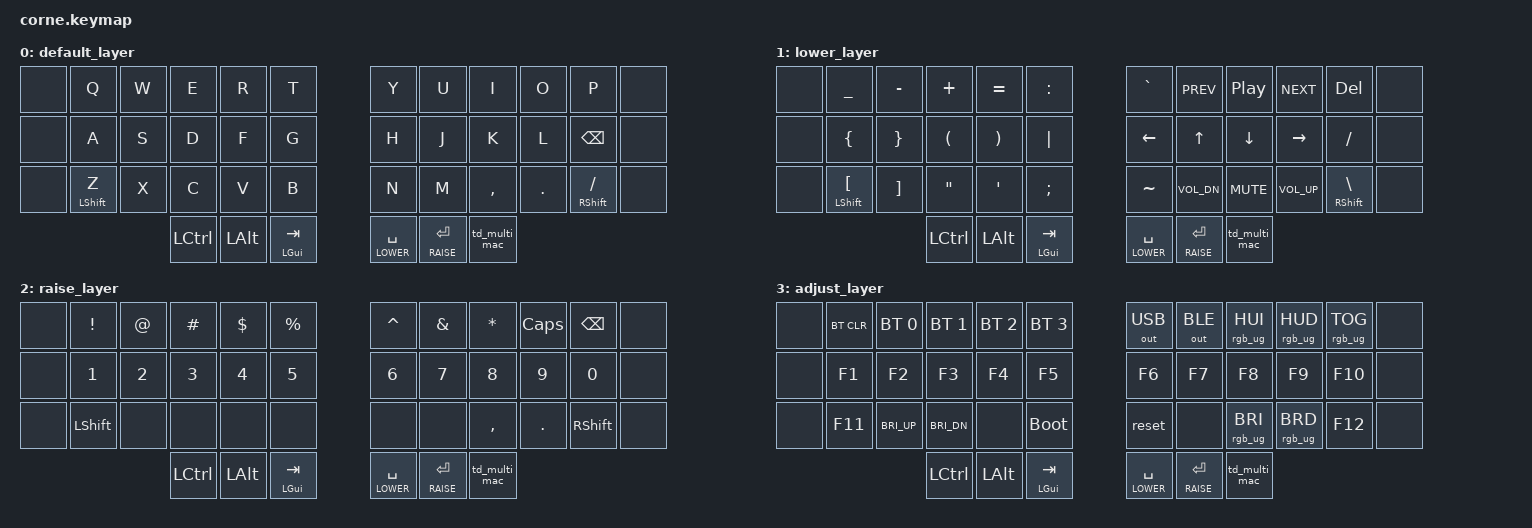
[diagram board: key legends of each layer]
/*
 * Copyright (c) 2020 The ZMK Contributors
 *
 * SPDX-License-Identifier: MIT
 */

#include <behaviors.dtsi>
#include <dt-bindings/zmk/keys.h>
#include <dt-bindings/zmk/bt.h>
#include <dt-bindings/led/led.h>
#include <dt-bindings/zmk/rgb.h>
#include <dt-bindings/zmk/outputs.h>

#define DEFAULT 0
#define LOWER   1
#define RAISE   2
#define ADJUST  3

&spi1 {
	compatible = "nordic,nrf-spim";
	/* Cannot be used together with i2c0. */
	status = "okay";
	mosi-pin = <6>;
	// Unused pins, needed for SPI definition, but not used by the ws2812 driver itself.
	sck-pin = <5>;
	miso-pin = <7>;

	led_strip: ws2812@0 {
		compatible = "worldsemi,ws2812-spi";
		label = "SK6812mini";

		/* SPI */
		reg = <0>; /* ignored, but necessary for SPI bindings */
		spi-max-frequency = <4000000>;

		/* WS2812 */
		chain-length = <36>;
		spi-one-frame = <0x70>;
		spi-zero-frame = <0x40>;

		color-mapping = <LED_COLOR_ID_GREEN LED_COLOR_ID_RED LED_COLOR_ID_BLUE>;
	};
};

/ {
	chosen {
		zmk,underglow = &led_strip;
	};

        conditional_layers {
                compatible = "zmk,conditional-layers";
                adjust_layer {
                if-layers = <LOWER RAISE>;
                then-layer = <ADJUST>;
                };
        };

        macros {
                spotlight: spotlight {
                        label = "spotlight";
                        compatible = "zmk,behavior-macro";
                        #binding-cells = <0>;
                        bindings = <&macro_press &kp LGUI>, <&macro_tap &kp SPACE>, <&macro_release &kp LGUI>; 
                };

                // Emoji
                mac_emoji: mac_emoji {
                        label = "mac_emoji";
                        compatible = "zmk,behavior-macro";
                        #binding-cells = <0>;
                        bindings = <&macro_press &kp LGUI>, <&macro_press &kp LCTRL>, <&macro_tap &kp SPACE>, <&macro_release &kp LCTRL>, <&macro_release &kp LGUI>; 
                };
        };
        
        behaviors {
                td_multi_mac: tap_dance_multi_mac {
                        compatible = "zmk,behavior-tap-dance";
                        label = "TAP_DANCE_MULTI_MAC";
                        #binding-cells = <0>;
                        tapping-term-ms = <200>;
                        bindings = <&kp ESC>, <&spotlight>, <&mac_emoji>;
                };

                bm: bottom_row_mods {
                        compatible = "zmk,behavior-hold-tap";
                        label = "BOTTOM_ROW_MODS";
                        #binding-cells = <2>;
                        tapping-term-ms = <135>;
                        quick-tap-ms = <0>;
                        flavor = "tap-preferred";
                        bindings = <&kp>, <&kp>;
                };

                cm: code_row_mods {
                        compatible = "zmk,behavior-hold-tap";
                        label = "CODE_ROW_MODS";
                        #binding-cells = <2>;
                        tapping-term-ms = <200>;
                        quick-tap-ms = <0>;
                        flavor = "tap-preferred";
                        bindings = <&kp>, <&kp>;
                        retro-tap;
                };

                sm: space_mod {
                        compatible = "zmk,behavior-hold-tap";
                        label = "SPACE_MOD";
                        #binding-cells = <2>;
                        flavor = "balanced";
                        tapping-term-ms = <200>;
                        quick-tap-ms = <125>;
                        bindings = <&kp>, <&kp>;
                };
        };

        keymap {
                compatible = "zmk,keymap";

                default_layer {
// ---------------------------------------------------------------------------   --------------------------------------------------------------------------
// |       |  Q         |  W          |  E         |  R          |  T        |   |  Y        |  U        |  I         |  O           |    P       |       |
// ---------------------------------------------------------------------------   --------------------------------------------------------------------------
// |       |  A         |  S          |  D         |  F          |  G        |   |  H        |  J        |  K         |  L           |  BSPC      |       |
// ---------------------------------------------------------------------------   --------------------------------------------------------------------------
// |       |  Z/LSHIFT  |  X          |  C         |  V          |  B        |   |  N        |  M        |  ,         |  .           |  /|RSHIFT  |       |
// ---------------------------------------------------------------------------   --------------------------------------------------------------------------
//                                    | LCTRL      | LALT       | TAB/CMD    |   | SPACE/LWR | ENTER/RSE | ESC/Spotlite/Emoji |
//                                    ----------------------------------------   ----------------------------------------------
                         
                        bindings = <
                                &none   &kp Q         &kp W   &kp E   &kp R   &kp T           &kp Y   &kp U   &kp I       &kp O        &kp P            &none
                                &none   &kp A         &kp S   &kp D   &kp F   &kp G           &kp H   &kp J   &kp K       &kp L        &kp BSPC         &none
                                &none   &bm LSHFT Z   &kp X   &kp C   &kp V   &kp B           &kp N   &kp M   &kp COMMA   &kp DOT      &bm RSHFT FSLH   &none
                                                        &kp LCTRL   &kp LALT   &sm LGUI TAB      &lt LOWER SPACE   &lt RAISE ENTER     &td_multi_mac                        
                        >;
                };


                lower_layer {
// ---------------------------------------------------------------------------   --------------------------------------------------------------------------
// |       |  _           |  -        |    +       |     =       |    :      |   |     `     | previous  |  play       | next        |  Delete    |       |
// ---------------------------------------------------------------------------   --------------------------------------------------------------------------
// |       |  {           |     }     |   (        |     )       |    |      |   |   LEFT    |  DOWN       | UP        |  RIGHT      |     /      |       |
// ---------------------------------------------------------------------------   --------------------------------------------------------------------------
// |       |  [/LSHFT     |     ]     |   "        |     '       |    ;      |   |      ~    | Volm down |  Mute       | Volm up     |  \/RSHIFT  |       |
// ---------------------------------------------------------------------------   --------------------------------------------------------------------------
//                                    | LCTRL      | LALT       | TAB/CMD    |   | SPACE/LWR | ENTER/RSE | ESC/Spotlite/Emoji |
//                                    ----------------------------------------   ----------------------------------------------
                        
                        bindings = <
                                &none      &kp UNDER           &kp MINUS     &kp PLUS       &kp EQUAL      &kp COLON           &kp GRAVE       &kp C_PREV        &kp C_PP           &kp C_NEXT        &kp DEL             &none
                                &none      &kp LBRC            &kp RBRC      &kp LPAR       &kp RPAR       &kp PIPE            &kp LEFT          &kp UP             &kp DOWN          &kp RIGHT       &kp FSLH            &none
                                &none      &cm LSHFT LBKT      &kp RBKT      &kp DQT        &kp APOS       &kp SEMI            &kp TILDE       &kp C_VOL_DN      &kp C_MUTE         &kp C_VOL_UP      &cm RSHFT BSLH      &none
                                                        &kp LCTRL   &kp LALT   &sm LGUI TAB      &lt LOWER SPACE   &lt RAISE ENTER     &td_multi_mac                        
                        >;
                };



                raise_layer {
// ---------------------------------------------------------------------------   --------------------------------------------------------------------------
// |       |   !          |  @        |  #         |  $          |  %         |  |  ^        |  &        |  *         |  CAPS       |  BSPC      |        |
// ---------------------------------------------------------------------------   --------------------------------------------------------------------------
// |       |   1          |  2        |  3         |  4          |  5         |  |  6        | 7         |  8         |  9          |  0         |        |
// ---------------------------------------------------------------------------   --------------------------------------------------------------------------
// |       |   LSHIFT     |           |            |             |            |  |           |           |  ,         |  .          |  RSHIFT    |        |
// ---------------------------------------------------------------------------   --------------------------------------------------------------------------
//                                    | LCTRL      | LALT       | TAB/CMD    |   | SPACE/LWR | ENTER/RSE | ESC/Spotlite/Emoji |
//                                    ----------------------------------------   ----------------------------------------------
                        bindings = <
                                &none      &kp EXCL       &kp AT      &kp HASH       &kp DLLR      &kp PRCNT    &kp CARET      &kp AMPS      &kp ASTERISK       &kp CAPS      &kp BSPC       &none
                                &none      &kp N1         &kp N2      &kp N3         &kp N4        &kp N5       &kp N6         &kp N7        &kp N8             &kp N9        &kp N0         &none
                                &none      &kp LSHFT      &none       &none          &none         &none        &none          &none         &kp COMMA          &kp DOT       &kp RSHFT      &none
                                                        &kp LCTRL   &kp LALT   &sm LGUI TAB      &lt LOWER SPACE   &lt RAISE ENTER     &td_multi_mac                        
                        >;
                };



                adjust_layer {
// ---------------------------------------------------------------------------   --------------------------------------------------------------------------
// |        |  ble_clear  | BT_SEL 0  |  BT_SEL 1  |  BT_SEL 2  |  BT_SEL 3  |   |  OUT_USB  |  OUT_BLE  |  rgb hue +  |  rgb hue - | toggle rgb |        |
// ---------------------------------------------------------------------------   --------------------------------------------------------------------------
// |        |   F1        |   F2      |    F3      |  F4        |   F5       |   |  F6       |  F7       |  F8         |  F9        |  F10       |        |
// ---------------------------------------------------------------------------   --------------------------------------------------------------------------
// |        |   F11       |   BRI_UP  |   BRI_DN   |            | bootloader |   |  reset    |           |  rgb bri +  | rgb bri +  |   F12      |        |
// ---------------------------------------------------------------------------   --------------------------------------------------------------------------
//                                    | LCTRL      | LALT       | TAB/CMD    |   | SPACE/LWR | ENTER/RSE | ESC/Spotlite/Emoji |
//                                    ----------------------------------------   ----------------------------------------------
                        
                        bindings =<
                                &none      &bt BT_CLR      &bt BT_SEL 0      &bt BT_SEL 1      &bt BT_SEL 2      &bt BT_SEL 3        &out OUT_USB     &out OUT_BLE         &rgb_ug RGB_HUI       &rgb_ug RGB_HUD      &rgb_ug RGB_TOG     &none
                                &none      &kp F1          &kp F2            &kp F3            &kp F4            &kp F5              &kp F6           &kp F7               &kp F8                &kp F9               &kp F10             &none
                                &none      &kp F11         &kp C_BRI_UP      &kp C_BRI_DN      &none             &bootloader         &reset           &none                &rgb_ug RGB_BRI       &rgb_ug RGB_BRD      &kp F12             &none
                                                        &kp LCTRL   &kp LALT   &sm LGUI TAB      &lt LOWER SPACE   &lt RAISE ENTER     &td_multi_mac                        
                        >;
                };
        };
};
